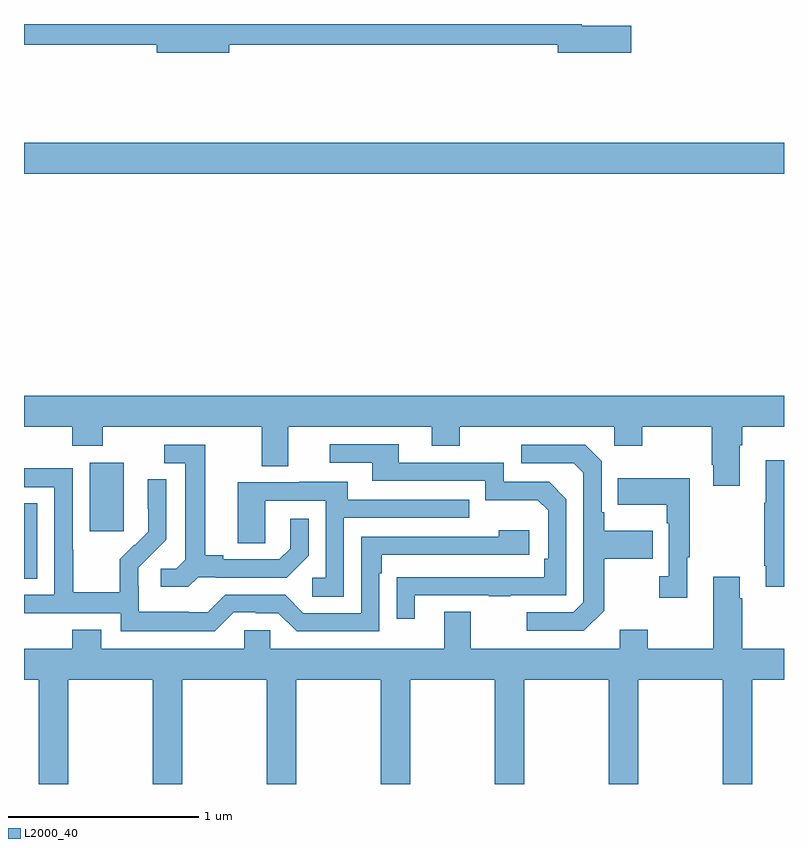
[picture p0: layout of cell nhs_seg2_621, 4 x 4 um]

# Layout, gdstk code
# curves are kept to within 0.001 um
import gdstk
lib = gdstk.Library(unit=1e-6, precision=1e-09)
def R(c, l, rs):  # rectangles x0, y0, x1, y1
    for r in rs: c.add(gdstk.rectangle(r[:2], r[2:], *l))
def P(c, l, *ps):  # polygons
    for p in ps: c.add(gdstk.Polygon(p, *l))
L2000_40 = (2000, 40)

nhs_seg2_621 = lib.new_cell('nhs_seg2_621')
R(nhs_seg2_621, L2000_40, [(143,602.881,143.071,603.278), (143.345,603.129,143.524,603.49), (143,605.012,147,605.176)])
P(nhs_seg2_621, L2000_40, [(144.079,605.692),(145.808,605.692),(145.808,605.65),(146.197,605.65),(146.197,605.792),(145.936,605.792),(145.936,605.8),(143,605.8),(143,605.692),(143.699,605.692),(143.699,605.65),(144.079,605.65)],
  [(146.767,603.584),(146.78,603.584),(146.78,603.68),(147,603.68),(147,603.844),(143,603.844),(143,603.68),(143.255,603.68),(143.255,603.581),(143.415,603.581),(143.415,603.68),(144.251,603.68),(144.251,603.472),(144.391,603.472),(144.391,603.68),(145.145,603.68),(145.145,603.581),(145.293,603.581),(145.293,603.68),(146.106,603.68),(146.106,603.581),(146.253,603.581),(146.253,603.68),(146.62,603.68),(146.62,603.481),(146.627,603.481),(146.627,603.369),(146.767,603.369)],
  [(145.057,602.793),(145.447,602.793),(145.447,602.788),(145.559,602.788),(145.559,602.793),(145.854,602.793),(145.854,603.3),(145.764,603.39),(145.524,603.39),(145.524,603.492),(144.973,603.492),(144.973,603.588),(144.609,603.588),(144.609,603.492),(144.833,603.492),(144.833,603.396),(145.428,603.396),(145.428,603.293),(145.705,603.293),(145.758,603.24),(145.758,602.986),(145.738,602.986),(145.738,602.889),(144.961,602.888),(144.961,602.67),(145.057,602.67)],
  [(146.053,602.713),(146.053,602.986),(146.309,602.986),(146.309,603.133),(146.053,603.133),(146.053,603.229),(146.04,603.229),(146.04,603.498),(145.953,603.585),(145.617,603.585),(145.617,603.489),(145.893,603.489),(145.944,603.438),(145.944,602.757),(145.89,602.703),(145.647,602.703),(145.647,602.607),(145.947,602.607)],
  [(143.916,602.889),(144.01,602.889),(144.01,602.886),(144.382,602.886),(144.498,603.002),(144.498,603.196),(144.401,603.196),(144.401,603.039),(144.344,602.982),(144.049,602.982),(144.049,603.005),(143.953,603.005),(143.953,603.585),(143.739,603.585),(143.739,603.489),(143.849,603.489),(143.849,602.981),(143.802,602.934),(143.721,602.934),(143.721,602.837),(143.864,602.837)],
  [(147,603.505),(146.903,603.505),(146.903,603.281),(146.896,603.281),(146.896,602.95),(146.903,602.95),(146.903,602.838),(147,602.838)],
  [(144.105,602.703),(144.221,602.703),(144.221,602.7),(144.339,602.7),(144.435,602.604),(144.87,602.604),(144.87,602.909),(144.883,602.909),(144.883,603.006),(145.66,603.006),(145.66,603.136),(145.499,603.136),(145.499,603.102),(144.774,603.102),(144.774,602.7),(144.471,602.7),(144.375,602.796),(144.06,602.796),(143.967,602.703),(143.867,602.703),(143.867,602.707),(143.604,602.707),(143.604,602.841),(143.602,602.841),(143.602,602.938),(143.748,603.086),(143.748,603.404),(143.652,603.404),(143.652,603.25),(143.654,603.25),(143.654,603.128),(143.583,603.057),(143.58,603.06),(143.503,602.983),(143.503,602.809),(143.259,602.809),(143.259,603.032),(143.256,603.032),(143.256,603.462),(143,603.462),(143,603.363),(143.16,603.363),(143.16,602.796),(143,602.796),(143,602.7),(143.508,602.7),(143.508,602.603),(144.005,602.603)],
  [(146.491,602.993),(146.503,602.993),(146.503,603.409),(146.125,603.409),(146.125,603.269),(146.382,603.269),(146.382,603.173),(146.394,603.173),(146.394,602.894),(146.343,602.894),(146.343,602.781),(146.491,602.781)],
  [(144.684,603.201),(145.343,603.201),(145.343,603.297),(144.703,603.297),(144.703,603.391),(144.449,603.391),(144.449,603.387),(144.125,603.387),(144.125,603.067),(144.27,603.067),(144.27,603.291),(144.588,603.291),(144.588,602.886),(144.516,602.886),(144.516,602.785),(144.684,602.785)],
  [(143.232,602.348),(143.677,602.348),(143.677,601.8),(143.832,601.8),(143.832,602.348),(144.277,602.348),(144.277,601.8),(144.432,601.8),(144.432,602.348),(144.877,602.348),(144.877,601.8),(145.032,601.8),(145.032,602.348),(145.477,602.348),(145.477,601.8),(145.632,601.8),(145.632,602.348),(146.077,602.348),(146.077,601.8),(146.232,601.8),(146.232,602.348),(146.677,602.348),(146.677,601.8),(146.832,601.8),(146.832,602.348),(147,602.348),(147,602.512),(146.78,602.512),(146.78,602.777),(146.767,602.777),(146.767,602.89),(146.627,602.89),(146.627,602.512),(146.283,602.512),(146.283,602.611),(146.135,602.611),(146.135,602.512),(145.351,602.512),(145.351,602.707),(145.211,602.707),(145.211,602.512),(144.297,602.512),(144.297,602.61),(144.159,602.61),(144.159,602.512),(143.407,602.512),(143.407,602.611),(143.255,602.611),(143.255,602.512),(143,602.512),(143,602.348),(143.077,602.348),(143.077,601.8),(143.232,601.8)])

lib.write_gds('nhs_seg2_621.gds')
